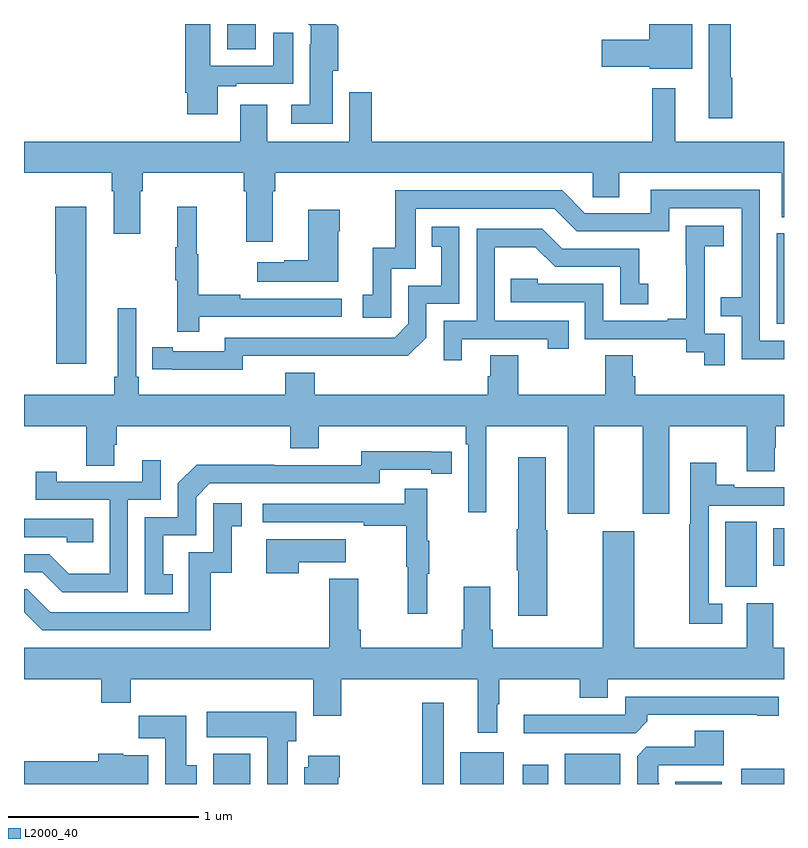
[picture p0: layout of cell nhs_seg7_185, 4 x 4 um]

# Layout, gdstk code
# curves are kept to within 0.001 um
import gdstk
lib = gdstk.Library(unit=1e-6, precision=1e-09)
def R(c, l, rs):  # rectangles x0, y0, x1, y1
    for r in rs: c.add(gdstk.rectangle(r[:2], r[2:], *l))
def P(c, l, *ps):  # polygons
    for p in ps: c.add(gdstk.Polygon(p, *l))
L2000_40 = (2000, 40)

nhs_seg7_185 = lib.new_cell('nhs_seg7_185')
R(nhs_seg7_185, L2000_40, [(123.995,1064,124.192,1064.158), (125.095,1064,125.209,1064.428), (125.297,1064,125.524,1064.167), (125.624,1064,125.758,1064.101), (125.846,1064,126.139,1064.158), (126.428,1064,126.673,1064.011), (126.774,1064,127,1064.08), (126.692,1065.037,126.856,1065.38), (126.944,1065.149,127,1065.346), (126.963,1066.422,127,1066.899), (124.07,1067.866,124.219,1068)])
P(nhs_seg7_185, L2000_40, [(126.517,1068),(126.29,1068),(126.29,1067.918),(126.042,1067.918),(126.042,1067.776),(126.294,1067.776),(126.294,1067.765),(126.517,1067.765)],
  [(126.727,1067.717),(126.719,1067.717),(126.719,1068),(126.605,1068),(126.605,1067.505),(126.727,1067.505)],
  [(124.624,1067.754),(124.655,1067.754),(124.655,1067.986),(124.641,1068),(124.497,1068),(124.509,1067.988),(124.509,1067.894),(124.505,1067.894),(124.505,1067.575),(124.407,1067.575),(124.407,1067.474),(124.624,1067.474)],
  [(124.021,1067.673),(124.117,1067.673),(124.117,1067.685),(124.417,1067.685),(124.417,1067.953),(124.313,1067.953),(124.313,1067.781),(123.979,1067.781),(123.979,1068),(123.848,1068),(123.848,1067.638),(123.86,1067.638),(123.86,1067.526),(124.021,1067.526)],
  [(124.309,1067.12),(124.322,1067.12),(124.322,1067.216),(125.994,1067.216),(125.994,1067.089),(126.133,1067.089),(126.133,1067.216),(126.989,1067.216),(126.989,1066.984),(127,1066.984),(127,1067.38),(126.427,1067.38),(126.427,1067.662),(126.306,1067.662),(126.306,1067.38),(124.829,1067.38),(124.829,1067.641),(124.713,1067.641),(124.713,1067.38),(124.279,1067.38),(124.279,1067.575),(124.139,1067.575),(124.139,1067.38),(123,1067.38),(123,1067.216),(123.461,1067.216),(123.461,1067.12),(123.473,1067.12),(123.473,1066.896),(123.613,1066.896),(123.613,1067.12),(123.626,1067.12),(123.626,1067.216),(124.157,1067.216),(124.157,1067.12),(124.169,1067.12),(124.169,1066.854),(124.309,1066.854)],
  [(127,1066.332),(126.873,1066.332),(126.873,1067.127),(126.299,1067.127),(126.299,1067.004),(125.952,1067.004),(125.832,1067.124),(124.953,1067.124),(124.953,1066.822),(124.835,1066.822),(124.835,1066.575),(124.782,1066.575),(124.782,1066.455),(124.932,1066.455),(124.932,1066.713),(125.061,1066.713),(125.061,1067.028),(125.79,1067.028),(125.91,1066.908),(126.396,1066.908),(126.396,1067.031),(126.777,1067.031),(126.777,1066.562),(126.667,1066.562),(126.667,1066.461),(126.777,1066.461),(126.777,1066.236),(127,1066.236)],
  [(123.328,1067.038),(123.164,1067.038),(123.164,1066.686),(123.17,1066.686),(123.17,1066.212),(123.328,1066.212)],
  [(123.923,1066.458),(124.672,1066.458),(124.672,1066.554),(124.139,1066.554),(124.139,1066.574),(123.916,1066.574),(123.916,1066.788),(123.908,1066.788),(123.908,1067.038),(123.806,1067.038),(123.806,1066.825),(123.795,1066.825),(123.795,1066.651),(123.806,1066.651),(123.806,1066.38),(123.923,1066.38)],
  [(124.654,1066.91),(124.662,1066.91),(124.662,1067.023),(124.496,1067.023),(124.496,1066.757),(124.37,1066.757),(124.37,1066.747),(124.227,1066.747),(124.227,1066.643),(124.654,1066.643)],
  [(126.687,1066.371),(126.582,1066.371),(126.582,1066.601),(126.584,1066.601),(126.584,1066.829),(126.682,1066.829),(126.682,1066.939),(126.484,1066.939),(126.484,1066.733),(126.485,1066.733),(126.485,1066.45),(126.389,1066.45),(126.389,1066.437),(126.048,1066.437),(126.048,1066.632),(125.703,1066.632),(125.703,1066.659),(125.563,1066.659),(125.563,1066.536),(125.952,1066.536),(125.952,1066.341),(126.486,1066.341),(126.486,1066.273),(126.579,1066.273),(126.579,1066.203),(126.687,1066.203)],
  [(124.152,1066.254),(125.02,1066.253),(125.118,1066.35),(125.118,1066.527),(125.292,1066.527),(125.292,1066.933),(125.146,1066.933),(125.146,1066.827),(125.195,1066.827),(125.195,1066.623),(125.022,1066.623),(125.022,1066.422),(124.95,1066.35),(124.056,1066.35),(124.056,1066.278),(123.784,1066.278),(123.784,1066.298),(123.676,1066.298),(123.676,1066.182),(124.152,1066.181)],
  [(125.305,1066.341),(125.756,1066.341),(125.756,1066.29),(125.867,1066.29),(125.867,1066.437),(125.478,1066.437),(125.478,1066.826),(125.692,1066.826),(125.796,1066.722),(126.138,1066.722),(126.138,1066.524),(126.286,1066.524),(126.286,1066.633),(126.237,1066.633),(126.237,1066.818),(125.833,1066.818),(125.728,1066.923),(125.382,1066.923),(125.382,1066.437),(125.208,1066.437),(125.208,1066.23),(125.305,1066.23)],
  [(126.001,1065.884),(126.257,1065.884),(126.257,1065.423),(126.397,1065.423),(126.397,1065.884),(126.803,1065.884),(126.803,1065.646),(126.951,1065.646),(126.951,1065.771),(126.956,1065.771),(126.956,1065.884),(127,1065.884),(127,1066.048),(126.218,1066.048),(126.218,1066.146),(126.205,1066.146),(126.205,1066.256),(126.058,1066.256),(126.058,1066.048),(125.601,1066.048),(125.601,1066.256),(125.453,1066.256),(125.453,1066.146),(125.441,1066.146),(125.441,1066.048),(124.529,1066.048),(124.529,1066.165),(124.376,1066.165),(124.376,1066.048),(123.605,1066.048),(123.605,1066.144),(123.591,1066.144),(123.591,1066.504),(123.494,1066.504),(123.494,1066.144),(123.475,1066.144),(123.475,1066.048),(123,1066.048),(123,1065.884),(123.328,1065.884),(123.328,1065.676),(123.475,1065.676),(123.475,1065.786),(123.488,1065.786),(123.488,1065.884),(124.4,1065.884),(124.4,1065.767),(124.552,1065.767),(124.552,1065.884),(125.324,1065.884),(125.324,1065.788),(125.337,1065.788),(125.337,1065.429),(125.434,1065.429),(125.434,1065.884),(125.861,1065.884),(125.861,1065.423),(126.001,1065.423)],
  [(123.782,1065.105),(123.733,1065.105),(123.733,1065.309),(123.906,1065.309),(123.906,1065.51),(123.978,1065.582),(124.872,1065.582),(124.872,1065.654),(125.144,1065.654),(125.144,1065.634),(125.252,1065.634),(125.252,1065.75),(124.776,1065.751),(124.776,1065.678),(124.316,1065.678),(124.316,1065.68),(123.908,1065.68),(123.81,1065.582),(123.81,1065.405),(123.636,1065.405),(123.636,1065),(123.782,1065)],
  [(125.754,1065.335),(125.746,1065.335),(125.746,1065.721),(125.6,1065.721),(125.6,1065.341),(125.593,1065.341),(125.593,1065.124),(125.6,1065.124),(125.6,1064.886),(125.754,1064.886)],
  [(123.546,1065.495),(123.72,1065.495),(123.72,1065.703),(123.623,1065.703),(123.623,1065.591),(123.172,1065.591),(123.172,1065.643),(123.061,1065.643),(123.061,1065.495),(123.45,1065.495),(123.45,1065.106),(123.236,1065.106),(123.132,1065.21),(123,1065.21),(123,1065.114),(123.095,1065.114),(123.2,1065.009),(123.546,1065.009)],
  [(126.676,1064.949),(126.603,1064.949),(126.603,1065.465),(127,1065.465),(127,1065.561),(126.739,1065.561),(126.739,1065.574),(126.643,1065.574),(126.643,1065.691),(126.507,1065.691),(126.507,1065.368),(126.502,1065.368),(126.502,1064.844),(126.676,1064.844)],
  [(125.123,1065.107),(125.134,1065.107),(125.134,1065.281),(125.123,1065.281),(125.123,1065.553),(125.005,1065.553),(125.005,1065.474),(124.257,1065.474),(124.257,1065.378),(124.789,1065.378),(124.789,1065.358),(125.013,1065.358),(125.013,1065.144),(125.02,1065.144),(125.02,1064.895),(125.123,1064.895)],
  [(123.983,1065.111),(124.094,1065.111),(124.094,1065.357),(124.147,1065.357),(124.147,1065.478),(123.996,1065.478),(123.996,1065.219),(123.867,1065.219),(123.867,1064.904),(123.138,1064.904),(123.018,1065.024),(123,1065.024),(123,1064.904),(123.096,1064.808),(123.983,1064.808)],
  [(123.365,1065.396),(123,1065.396),(123,1065.3),(123.225,1065.3),(123.225,1065.273),(123.365,1065.273)],
  [(125.491,1064.42),(125.501,1064.42),(125.501,1064.552),(125.926,1064.552),(125.926,1064.453),(126.073,1064.453),(126.073,1064.552),(127,1064.552),(127,1064.716),(126.943,1064.716),(126.943,1064.952),(126.803,1064.952),(126.803,1064.716),(126.211,1064.716),(126.211,1065.331),(126.047,1065.331),(126.047,1064.716),(125.468,1064.716),(125.468,1064.812),(125.455,1064.812),(125.455,1065.037),(125.315,1065.037),(125.315,1064.812),(125.303,1064.812),(125.303,1064.716),(124.772,1064.716),(124.772,1064.812),(124.759,1064.812),(124.759,1065.079),(124.607,1065.079),(124.607,1064.716),(123,1064.716),(123,1064.552),(123.407,1064.552),(123.407,1064.428),(123.563,1064.428),(123.563,1064.552),(124.523,1064.552),(124.523,1064.358),(124.671,1064.358),(124.671,1064.552),(125.387,1064.552),(125.387,1064.271),(125.491,1064.271)],
  [(124.445,1065.167),(124.693,1065.167),(124.693,1065.289),(124.274,1065.289),(124.274,1065.108),(124.445,1065.108)],
  [(126.281,1064.33),(126.281,1064.364),(126.86,1064.364),(126.86,1064.359),(126.973,1064.359),(126.973,1064.46),(126.165,1064.46),(126.165,1064.364),(125.631,1064.364),(125.631,1064.268),(126.219,1064.268)],
  [(124.387,1064.226),(124.432,1064.226),(124.432,1064.38),(123.963,1064.38),(123.963,1064.246),(124.28,1064.246),(124.28,1064),(124.387,1064)],
  [(123.91,1064.1),(123.853,1064.1),(123.853,1064.359),(123.604,1064.359),(123.604,1064.24),(123.743,1064.24),(123.743,1064),(123.91,1064)],
  [(126.343,1064.003),(126.339,1064.003),(126.339,1064.1),(126.683,1064.1),(126.683,1064.279),(126.53,1064.279),(126.53,1064.196),(126.276,1064.196),(126.227,1064.147),(126.227,1064),(126.343,1064)],
  [(123.655,1064.152),(123.522,1064.152),(123.522,1064.158),(123.392,1064.158),(123.392,1064.119),(123,1064.119),(123,1064),(123.655,1064)],
  [(124.654,1064.036),(124.662,1064.036),(124.662,1064.149),(124.496,1064.149),(124.496,1064.088),(124.475,1064.088),(124.475,1064),(124.654,1064)])

lib.write_gds('nhs_seg7_185.gds')
